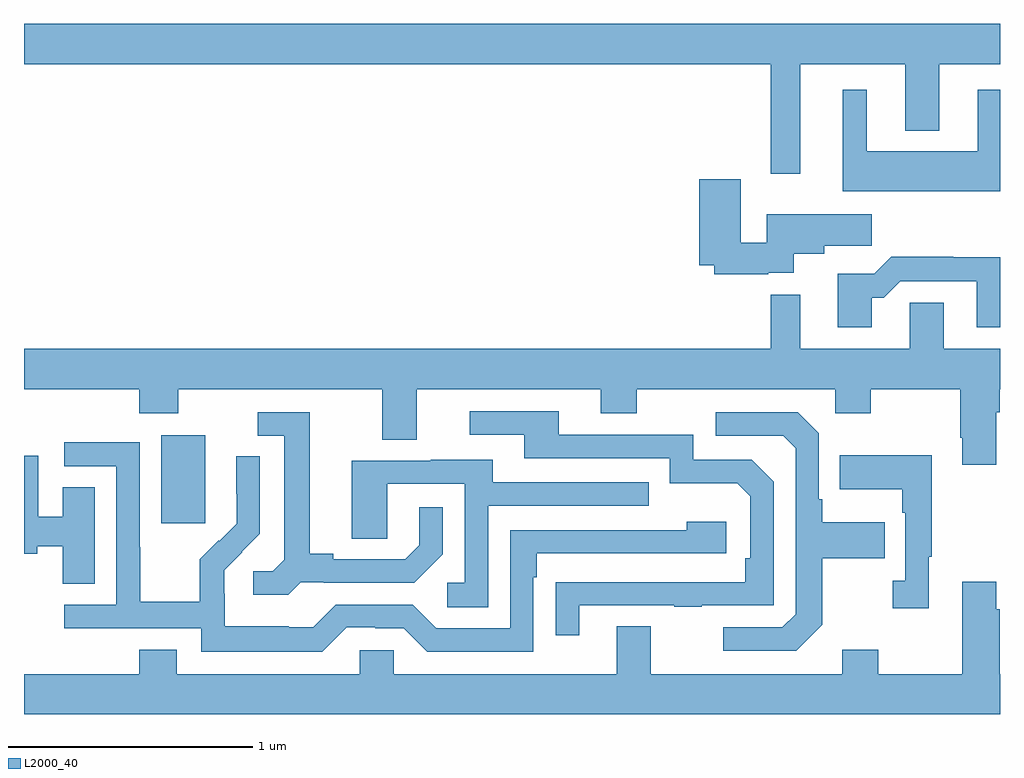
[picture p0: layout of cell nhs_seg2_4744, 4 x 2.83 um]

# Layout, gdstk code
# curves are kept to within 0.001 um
import gdstk
lib = gdstk.Library(unit=1e-6, precision=1e-09)
def R(c, l, rs):  # rectangles x0, y0, x1, y1
    for r in rs: c.add(gdstk.rectangle(r[:2], r[2:], *l))
def P(c, l, *ps):  # polygons
    for p in ps: c.add(gdstk.Polygon(p, *l))
L2000_40 = (2000, 40)

nhs_seg2_4744 = lib.new_cell('nhs_seg2_4744')
R(nhs_seg2_4744, L2000_40, [(369.563,643.089,369.742,643.45)])
P(nhs_seg2_4744, L2000_40, [(372.181,644.972),(372.611,644.972),(372.611,644.699),(372.751,644.699),(372.751,644.972),(373,644.972),(373,645.136),(369,645.136),(369,644.972),(372.06,644.972),(372.06,644.523),(372.181,644.523)],
  [(373,644.866),(372.908,644.866),(372.908,644.614),(372.454,644.614),(372.454,644.866),(372.356,644.866),(372.356,644.45),(373,644.45)],
  [(372.05,644.117),(372.154,644.117),(372.154,644.195),(372.28,644.195),(372.28,644.227),(372.475,644.227),(372.475,644.356),(372.044,644.356),(372.044,644.24),(371.938,644.24),(371.938,644.5),(371.768,644.5),(371.768,644.147),(371.828,644.147),(371.828,644.11),(372.05,644.11)],
  [(372.475,644.015),(372.524,644.015),(372.591,644.082),(372.905,644.082),(372.905,643.893),(373,643.893),(373,644.18),(372.809,644.18),(372.809,644.183),(372.554,644.183),(372.484,644.113),(372.335,644.113),(372.335,643.893),(372.475,643.893)],
  [(372.985,643.544),(372.998,643.544),(372.998,643.64),(373,643.64),(373,643.804),(372.769,643.804),(372.769,643.994),(372.63,643.994),(372.63,643.804),(372.181,643.804),(372.181,644.026),(372.06,644.026),(372.06,643.804),(369,643.804),(369,643.64),(369.473,643.64),(369.473,643.541),(369.633,643.541),(369.633,643.64),(370.469,643.64),(370.469,643.432),(370.609,643.432),(370.609,643.64),(371.363,643.64),(371.363,643.541),(371.511,643.541),(371.511,643.64),(372.324,643.64),(372.324,643.541),(372.471,643.541),(372.471,643.64),(372.838,643.64),(372.838,643.441),(372.845,643.441),(372.845,643.329),(372.985,643.329)],
  [(371.275,642.753),(371.665,642.753),(371.665,642.748),(371.777,642.748),(371.777,642.753),(372.072,642.753),(372.072,643.26),(371.982,643.35),(371.742,643.35),(371.742,643.452),(371.191,643.452),(371.191,643.548),(370.827,643.548),(370.827,643.452),(371.051,643.452),(371.051,643.356),(371.646,643.356),(371.646,643.253),(371.923,643.253),(371.976,643.2),(371.976,642.946),(371.956,642.946),(371.956,642.849),(371.179,642.848),(371.179,642.63),(371.275,642.63)],
  [(370.134,642.849),(370.228,642.849),(370.228,642.846),(370.6,642.846),(370.716,642.962),(370.716,643.156),(370.619,643.156),(370.619,642.999),(370.562,642.942),(370.267,642.942),(370.267,642.965),(370.171,642.965),(370.171,643.545),(369.957,643.545),(369.957,643.449),(370.067,643.449),(370.067,642.941),(370.02,642.894),(369.939,642.894),(369.939,642.797),(370.082,642.797)],
  [(372.271,642.673),(372.271,642.946),(372.527,642.946),(372.527,643.093),(372.271,643.093),(372.271,643.189),(372.258,643.189),(372.258,643.458),(372.171,643.545),(371.835,643.545),(371.835,643.449),(372.111,643.449),(372.162,643.398),(372.162,642.717),(372.108,642.663),(371.865,642.663),(371.865,642.567),(372.165,642.567)],
  [(370.323,642.663),(370.439,642.663),(370.439,642.66),(370.557,642.66),(370.653,642.564),(371.088,642.564),(371.088,642.869),(371.101,642.869),(371.101,642.966),(371.878,642.966),(371.878,643.096),(371.717,643.096),(371.717,643.062),(370.992,643.062),(370.992,642.66),(370.689,642.66),(370.593,642.756),(370.278,642.756),(370.185,642.663),(370.085,642.663),(370.085,642.667),(369.822,642.667),(369.822,642.801),(369.82,642.801),(369.82,642.898),(369.966,643.046),(369.966,643.364),(369.87,643.364),(369.87,643.21),(369.872,643.21),(369.872,643.088),(369.801,643.017),(369.798,643.02),(369.721,642.943),(369.721,642.769),(369.477,642.769),(369.477,642.992),(369.474,642.992),(369.474,643.422),(369.165,643.422),(369.165,643.323),(369.378,643.323),(369.378,642.756),(369.165,642.756),(369.165,642.66),(369.726,642.66),(369.726,642.563),(370.223,642.563)],
  [(372.709,642.953),(372.721,642.953),(372.721,643.369),(372.343,643.369),(372.343,643.229),(372.6,643.229),(372.6,643.133),(372.612,643.133),(372.612,642.854),(372.561,642.854),(372.561,642.741),(372.709,642.741)],
  [(369.289,643.238),(369.158,643.238),(369.158,643.117),(369.058,643.117),(369.058,643.366),(369,643.366),(369,642.965),(369.054,642.965),(369.054,642.995),(369.158,642.995),(369.158,642.841),(369.289,642.841)],
  [(370.902,643.161),(371.561,643.161),(371.561,643.257),(370.921,643.257),(370.921,643.351),(370.667,643.351),(370.667,643.347),(370.343,643.347),(370.343,643.027),(370.488,643.027),(370.488,643.251),(370.806,643.251),(370.806,642.846),(370.734,642.846),(370.734,642.745),(370.902,642.745)],
  [(373,642.472),(372.998,642.472),(372.998,642.737),(372.985,642.737),(372.985,642.85),(372.845,642.85),(372.845,642.472),(372.501,642.472),(372.501,642.571),(372.353,642.571),(372.353,642.472),(371.569,642.472),(371.569,642.667),(371.429,642.667),(371.429,642.472),(370.515,642.472),(370.515,642.57),(370.377,642.57),(370.377,642.472),(369.625,642.472),(369.625,642.571),(369.473,642.571),(369.473,642.472),(369,642.472),(369,642.308),(373,642.308)])

lib.write_gds('nhs_seg2_4744.gds')
